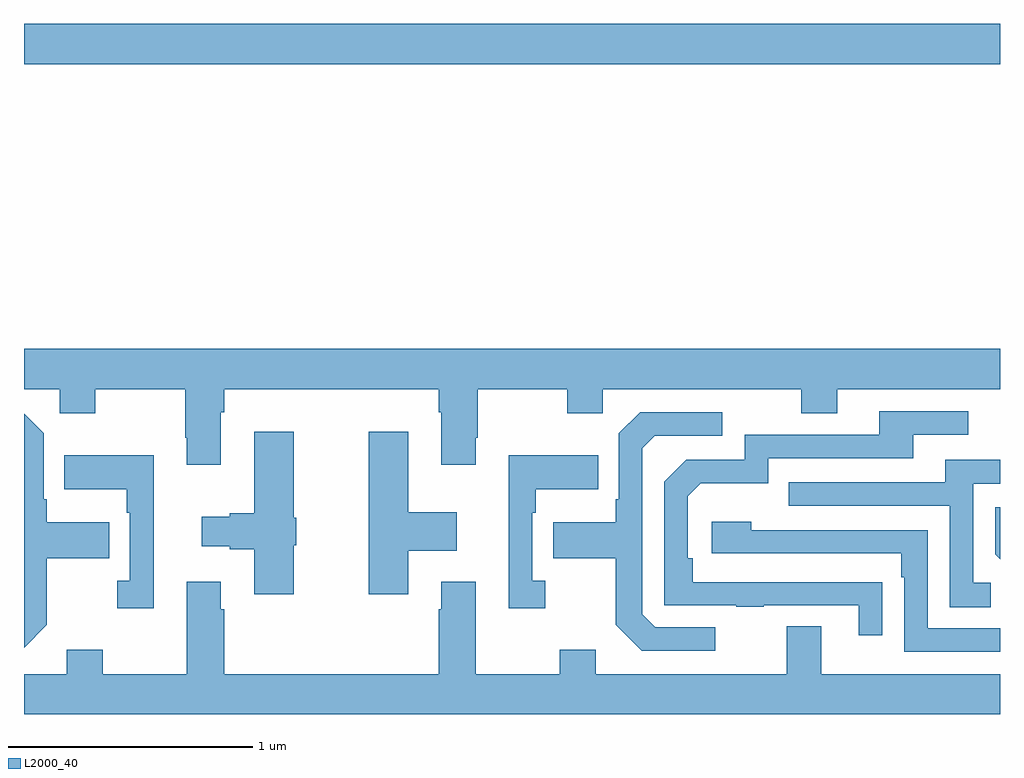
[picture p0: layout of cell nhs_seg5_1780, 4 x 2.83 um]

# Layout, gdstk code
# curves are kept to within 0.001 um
import gdstk
lib = gdstk.Library(unit=1e-6, precision=1e-09)
def R(c, l, rs):  # rectangles x0, y0, x1, y1
    for r in rs: c.add(gdstk.rectangle(r[:2], r[2:], *l))
def P(c, l, *ps):  # polygons
    for p in ps: c.add(gdstk.Polygon(p, *l))
L2000_40 = (2000, 40)

nhs_seg5_1780 = lib.new_cell('nhs_seg5_1780')
R(nhs_seg5_1780, L2000_40, [(217,890.06,221,890.224)])
P(nhs_seg5_1780, L2000_40, [(217,888.728),(217.146,888.728),(217.146,888.629),(217.293,888.629),(217.293,888.728),(217.66,888.728),(217.66,888.529),(217.667,888.529),(217.667,888.417),(217.807,888.417),(217.807,888.632),(217.82,888.632),(217.82,888.728),(218.699,888.728),(218.699,888.632),(218.711,888.632),(218.711,888.417),(218.851,888.417),(218.851,888.529),(218.859,888.529),(218.859,888.728),(219.226,888.728),(219.226,888.629),(219.372,888.629),(219.372,888.728),(220.186,888.728),(220.186,888.629),(220.333,888.629),(220.333,888.728),(221,888.728),(221,888.892),(217,888.892)],
  [(220.517,887.936),(219.74,887.937),(219.74,888.034),(219.72,888.034),(219.72,888.288),(219.773,888.341),(220.05,888.341),(220.05,888.444),(220.645,888.444),(220.645,888.54),(220.87,888.54),(220.87,888.636),(220.505,888.636),(220.505,888.54),(219.954,888.54),(219.954,888.438),(219.714,888.438),(219.624,888.348),(219.624,887.841),(219.919,887.841),(219.919,887.836),(220.031,887.836),(220.031,887.841),(220.421,887.841),(220.421,887.718),(220.517,887.718)],
  [(219.832,887.751),(219.588,887.751),(219.534,887.805),(219.534,888.486),(219.585,888.537),(219.862,888.537),(219.862,888.633),(219.525,888.633),(219.438,888.546),(219.438,888.277),(219.426,888.277),(219.426,888.181),(219.169,888.181),(219.169,888.034),(219.426,888.034),(219.426,887.761),(219.531,887.655),(219.832,887.655)],
  [(217.093,887.761),(217.093,888.034),(217.349,888.034),(217.349,888.181),(217.093,888.181),(217.093,888.277),(217.08,888.277),(217.08,888.546),(217,888.626),(217,887.668)],
  [(218.575,888.065),(218.773,888.065),(218.773,888.223),(218.575,888.223),(218.575,888.553),(218.413,888.553),(218.413,887.886),(218.575,887.886)],
  [(218.106,888.087),(218.116,888.087),(218.116,888.201),(218.106,888.201),(218.106,888.553),(217.943,888.553),(217.943,888.218),(217.844,888.218),(217.844,888.205),(217.728,888.205),(217.728,888.083),(217.844,888.083),(217.844,888.071),(217.943,888.071),(217.943,887.886),(218.106,887.886)],
  [(217.532,888.457),(217.165,888.457),(217.165,888.317),(217.422,888.317),(217.422,888.221),(217.434,888.221),(217.434,887.942),(217.383,887.942),(217.383,887.829),(217.532,887.829)],
  [(219.136,887.942),(219.084,887.942),(219.084,888.221),(219.097,888.221),(219.097,888.317),(219.353,888.317),(219.353,888.457),(218.987,888.457),(218.987,887.829),(219.136,887.829)],
  [(220.963,887.934),(220.89,887.934),(220.89,888.339),(221,888.339),(221,888.439),(220.775,888.439),(220.775,888.345),(220.135,888.345),(220.135,888.249),(220.794,888.249),(220.794,887.833),(220.963,887.833)],
  [(221,888.244),(220.98,888.244),(220.98,888.05),(221,888.03)],
  [(221,887.748),(220.704,887.748),(220.704,888.15),(219.98,888.15),(219.98,888.184),(219.819,888.184),(219.819,888.054),(220.595,888.054),(220.595,887.957),(220.608,887.957),(220.608,887.652),(221,887.652)],
  [(221,887.56),(220.267,887.56),(220.267,887.755),(220.127,887.755),(220.127,887.56),(219.343,887.56),(219.343,887.659),(219.196,887.659),(219.196,887.56),(218.851,887.56),(218.851,887.938),(218.711,887.938),(218.711,887.825),(218.699,887.825),(218.699,887.56),(217.82,887.56),(217.82,887.825),(217.807,887.825),(217.807,887.938),(217.667,887.938),(217.667,887.56),(217.323,887.56),(217.323,887.659),(217.175,887.659),(217.175,887.56),(217,887.56),(217,887.396),(221,887.396)])

lib.write_gds('nhs_seg5_1780.gds')
